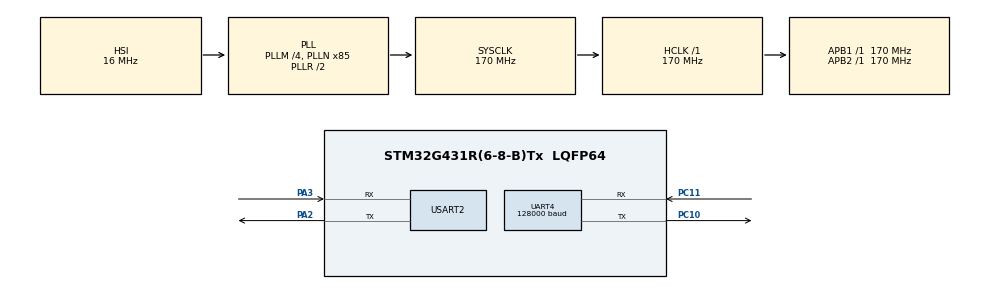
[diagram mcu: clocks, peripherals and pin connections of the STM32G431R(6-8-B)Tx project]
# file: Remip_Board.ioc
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Mcu.Family=STM32G4
Mcu.Name=STM32G431R(6-8-B)Tx
Mcu.Package=LQFP64
NVIC.PriorityGroup=NVIC_PRIORITYGROUP_4
PA13.GPIO_Label=T_SWDIO
PA13.Signal=SYS_JTMS-SWDIO
PA14.GPIO_Label=T_SWCLK
PA14.Signal=SYS_JTCK-SWCLK
PA2.Mode=Asynchronous
PA2.Signal=USART2_TX
PA3.Mode=Asynchronous
PA3.Signal=USART2_RX
PB3.GPIO_Label=T_SWO
PB3.Signal=SYS_JTDO-SWO
PC10.Mode=Asynchronous
PC10.Signal=UART4_TX
PC11.Mode=Asynchronous
PC11.Signal=UART4_RX
PC14-OSC32_IN.GPIO_Label=RCC_OSC32_OUT
PC14-OSC32_IN.Signal=RCC_OSC32_IN
PC15-OSC32_OUT.GPIO_Label=RCC_OSC32_OUT
PC15-OSC32_OUT.Signal=RCC_OSC32_OUT
PF0-OSC_IN.GPIO_Label=RCC_OSC_IN
PF0-OSC_IN.Signal=RCC_OSC_IN
PF1-OSC_OUT.GPIO_Label=RCC_OSC_OUT
PF1-OSC_OUT.Signal=RCC_OSC_OUT
ProjectManager.HeapSize=0x200
ProjectManager.StackSize=0x400
ProjectManager.TargetToolchain=STM32CubeIDE
RCC.ADC12Freq_Value=170000000
RCC.AHBFreq_Value=170000000
RCC.APB1Freq_Value=170000000
RCC.APB1TimFreq_Value=170000000
RCC.APB2Freq_Value=170000000
RCC.APB2TimFreq_Value=170000000
RCC.CortexFreq_Value=170000000
RCC.EXTERNAL_CLOCK_VALUE=12288000
RCC.HCLKFreq_Value=170000000
RCC.HSE_VALUE=24000000
RCC.HSI48_VALUE=48000000
RCC.HSI_VALUE=16000000
RCC.LSE_VALUE=32768
RCC.PLLM=RCC_PLLM_DIV4
RCC.PLLN=85
RCC.RTCClockSelection=RCC_RTCCLKSOURCE_LSE
RCC.SYSCLKFreq_VALUE=170000000
RCC.SYSCLKSource=RCC_SYSCLKSOURCE_PLLCLK
RCC.USBFreq_Value=170000000
RCC.VCOOutputFreq_Value=340000000
UART4.BaudRate=128000
USART2.VirtualMode-Asynchronous=VM_ASYNC
VP_SYS_VS_DBSignals.Mode=DisableDeadBatterySignals
board=NUCLEO-G431RB

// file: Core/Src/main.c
/* USER CODE BEGIN Header */
/**
  ******************************************************************************
  * @file           : main.c
  * @brief          : Main program body
  ******************************************************************************
  * @attention
  *
  * Copyright (c) 2024 STMicroelectronics.
  * All rights reserved.
  *
  * This software is licensed under terms that can be found in the LICENSE file
  * in the root directory of this software component.
  * If no LICENSE file comes with this software, it is provided AS-IS.
  *
  ******************************************************************************
  */
/* USER CODE END Header */
#include "main.h"
#include "usart.h"
#include "gpio.h"

/* USER CODE BEGIN Includes */
#include <stdio.h>
#include <stdint.h>
/* USER CODE END Includes */

void SystemClock_Config(void);

/* USER CODE BEGIN 0 */
int __io_putchar(int ch) {
	HAL_UART_Transmit(&huart2, (uint8_t *)&ch, 1, HAL_MAX_DELAY);
	return ch;
}

int uart_it_transmit(uint8_t *p_data, uint16_t size){
	HAL_UART_Transmit_IT(&huart4, p_data, size);
	return 0;
}

int uart_receive(uint8_t *p_data, uint16_t size){
	HAL_UART_Receive(&huart4, p_data, size, 100);
	return 0;
}
/* USER CODE END 0 */

int main(void)
{

  /* USER CODE BEGIN 1 */
	BaseType_t xReturned;
	TaskHandle_t xHandle1 = NULL;
  /* USER CODE END 1 */

  /* MCU Configuration--------------------------------------------------------*/

  /* Reset of all peripherals, Initializes the Flash interface and the Systick. */
  HAL_Init();

  /* Configure the system clock */
  SystemClock_Config();

  /* Initialize all configured peripherals */
  MX_GPIO_Init();
  MX_USART2_UART_Init();
  MX_UART4_Init();
  /* USER CODE BEGIN 2 */
  printf("=================== DRIVER LIDAR =================== \r\n");

  uint8_t stop_command[2] = {0xA5, 0x65};
  uart_it_transmit(stop_command, 2);

  printf(" 3 \r\n");

  // Attendre 2 secondes
  HAL_Delay(2000);

  printf(" 4 \r\n");

  // Commande pour obtenir le statut de santé
  uint8_t health_status_command[2] = {0xA5, 0x90};
  uart_it_transmit(health_status_command, 2);
  uint8_t raw_data[64];
  memset(raw_data,0,64);
  uart_receive(raw_data,64);
  int a=5;
  /* USER CODE END 2 */

  /* Infinite loop */
  while (1)
  {

  }
}

void SystemClock_Config(void)
{
  RCC_OscInitTypeDef RCC_OscInitStruct = {0};
  RCC_ClkInitTypeDef RCC_ClkInitStruct = {0};

  /** Configure the main internal regulator output voltage
  */
  HAL_PWREx_ControlVoltageScaling(PWR_REGULATOR_VOLTAGE_SCALE1_BOOST);

  /** Initializes the RCC Oscillators according to the specified parameters
  * in the RCC_OscInitTypeDef structure.
  */
  RCC_OscInitStruct.OscillatorType = RCC_OSCILLATORTYPE_HSI;
  RCC_OscInitStruct.HSIState = RCC_HSI_ON;
  RCC_OscInitStruct.HSICalibrationValue = RCC_HSICALIBRATION_DEFAULT;
  RCC_OscInitStruct.PLL.PLLState = RCC_PLL_ON;
  RCC_OscInitStruct.PLL.PLLSource = RCC_PLLSOURCE_HSI;
  RCC_OscInitStruct.PLL.PLLM = RCC_PLLM_DIV4;
  RCC_OscInitStruct.PLL.PLLN = 85;
  RCC_OscInitStruct.PLL.PLLP = RCC_PLLP_DIV2;
  RCC_OscInitStruct.PLL.PLLQ = RCC_PLLQ_DIV2;
  RCC_OscInitStruct.PLL.PLLR = RCC_PLLR_DIV2;
  if (HAL_RCC_OscConfig(&RCC_OscInitStruct) != HAL_OK)
  {
    Error_Handler();
  }

  /** Initializes the CPU, AHB and APB buses clocks
  */
  RCC_ClkInitStruct.ClockType = RCC_CLOCKTYPE_HCLK|RCC_CLOCKTYPE_SYSCLK
                              |RCC_CLOCKTYPE_PCLK1|RCC_CLOCKTYPE_PCLK2;
  RCC_ClkInitStruct.SYSCLKSource = RCC_SYSCLKSOURCE_PLLCLK;
  RCC_ClkInitStruct.AHBCLKDivider = RCC_SYSCLK_DIV1;
  RCC_ClkInitStruct.APB1CLKDivider = RCC_HCLK_DIV1;
  RCC_ClkInitStruct.APB2CLKDivider = RCC_HCLK_DIV1;

  if (HAL_RCC_ClockConfig(&RCC_ClkInitStruct, FLASH_LATENCY_4) != HAL_OK)
  {
    Error_Handler();
  }
}

void Error_Handler(void)
{
  __disable_irq();
  while (1)
  {
  }
}
